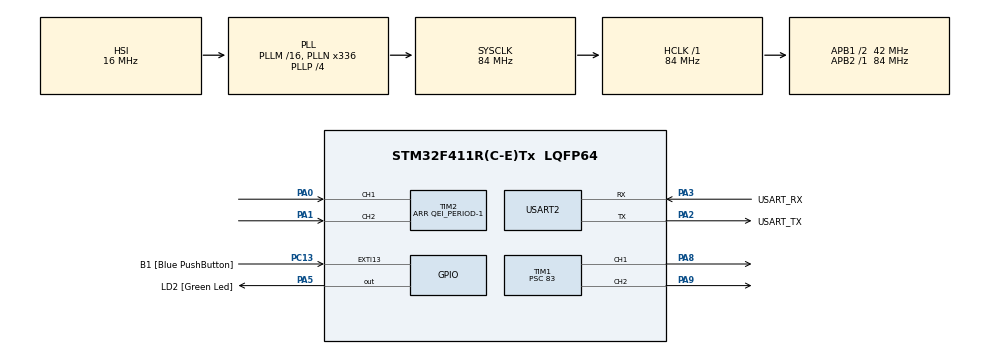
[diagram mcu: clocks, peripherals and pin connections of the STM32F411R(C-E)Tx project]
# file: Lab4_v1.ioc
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ARM.CMSIS.5.6.0.CMSISJjCORE=true
ARM.CMSIS.5.6.0.CMSISJjDSP=Library
Mcu.Family=STM32F4
Mcu.Name=STM32F411R(C-E)Tx
Mcu.Package=LQFP64
Mcu.UserConstants=QEI_PERIOD,4294967295
NVIC.PriorityGroup=NVIC_PRIORITYGROUP_0
NVIC.TIM5_IRQn=true\:0\:0\:false\:false\:true\:true\:true\:true
PA0-WKUP.Signal=S_TIM2_CH1_ETR
PA1.Signal=S_TIM2_CH2
PA13.GPIO_Label=TMS
PA13.Mode=Trace_Asynchronous_SW
PA13.Signal=SYS_JTMS-SWDIO
PA14.GPIO_Label=TCK
PA14.Mode=Trace_Asynchronous_SW
PA14.Signal=SYS_JTCK-SWCLK
PA2.GPIO_Label=USART_TX
PA2.Mode=Asynchronous
PA2.Signal=USART2_TX
PA3.GPIO_Label=USART_RX
PA3.Mode=Asynchronous
PA3.Signal=USART2_RX
PA5.GPIO_Label=LD2 [Green Led]
PA5.Signal=GPIO_Output
PA8.Signal=S_TIM1_CH1
PA9.Signal=S_TIM1_CH2
PB3.GPIO_Label=SWO
PB3.Mode=Trace_Asynchronous_SW
PB3.Signal=SYS_JTDO-SWO
PC13-ANTI_TAMP.GPIO_Label=B1 [Blue PushButton]
PC13-ANTI_TAMP.GPIO_ModeDefaultEXTI=GPIO_MODE_IT_FALLING
PC13-ANTI_TAMP.Signal=GPXTI13
PC14-OSC32_IN.Mode=LSE-External-Oscillator
PC14-OSC32_IN.Signal=RCC_OSC32_IN
PC15-OSC32_OUT.Mode=LSE-External-Oscillator
PC15-OSC32_OUT.Signal=RCC_OSC32_OUT
PH0\ -\ OSC_IN.Mode=HSE-External-Clock-Source
PH0\ -\ OSC_IN.Signal=RCC_OSC_IN
PH1\ -\ OSC_OUT.Mode=HSE-External-Clock-Source
PH1\ -\ OSC_OUT.Signal=RCC_OSC_OUT
ProjectManager.HeapSize=0x200
ProjectManager.StackSize=0x400
ProjectManager.TargetToolchain=STM32CubeIDE
RCC.48MHZClocksFreq_Value=84000000
RCC.AHBFreq_Value=84000000
RCC.APB1CLKDivider=RCC_HCLK_DIV2
RCC.APB1Freq_Value=42000000
RCC.APB1TimFreq_Value=84000000
RCC.APB2Freq_Value=84000000
RCC.APB2TimFreq_Value=84000000
RCC.CortexFreq_Value=84000000
RCC.FLatency-AdvancedSettings=FLASH_LATENCY_2
RCC.HCLKFreq_Value=84000000
RCC.HSE_VALUE=8000000
RCC.HSI_VALUE=16000000
RCC.PLLN=336
RCC.PLLP=RCC_PLLP_DIV4
RCC.SYSCLKFreq_VALUE=84000000
RCC.SYSCLKSource=RCC_SYSCLKSOURCE_PLLCLK
RCC.VCOOutputFreq_Value=336000000
SH.S_TIM1_CH1.0=TIM1_CH1,PWM Generation1 CH1
SH.S_TIM1_CH2.0=TIM1_CH2,PWM Generation2 CH2
SH.S_TIM2_CH1_ETR.0=TIM2_CH1,Encoder_Interface
SH.S_TIM2_CH2.0=TIM2_CH2,Encoder_Interface
TIM1.Channel-PWM\ Generation1\ CH1=TIM_CHANNEL_1
TIM1.Channel-PWM\ Generation2\ CH2=TIM_CHANNEL_2
TIM1.Period=999
TIM1.Prescaler=83
TIM2.EncoderMode=TIM_ENCODERMODE_TI12
TIM2.Period=QEI_PERIOD-1
TIM5.Prescaler=83
USART2.VirtualMode=VM_ASYNC
VP_ARM.CMSIS_VS_CMSISJjCORE_5.3.0_5.6.0.Mode=CMSISJjCORE
VP_ARM.CMSIS_VS_CMSISJjDSP_1.7.0_5.6.0.Mode=CMSISJjDSP
VP_TIM1_VS_ClockSourceINT.Mode=Internal
VP_TIM5_VS_ClockSourceINT.Mode=Internal
board=NUCLEO-F411RE

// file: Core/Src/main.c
/* USER CODE BEGIN Header */
/**
  ******************************************************************************
  * @file           : main.c
  * @brief          : Main program body
  ******************************************************************************
  * @attention
  *
  * Copyright (c) 2023 STMicroelectronics.
  * All rights reserved.
  *
  * This software is licensed under terms that can be found in the LICENSE file
  * in the root directory of this software component.
  * If no LICENSE file comes with this software, it is provided AS-IS.
  *
  ******************************************************************************
  */
/* USER CODE END Header */
#include "main.h"

/* USER CODE BEGIN Includes */
#include "arm_math.h"
#include "stdio.h"
/* USER CODE END Includes */

TIM_HandleTypeDef htim1;
TIM_HandleTypeDef htim2;
TIM_HandleTypeDef htim5;

UART_HandleTypeDef huart2;

/* USER CODE BEGIN PV */
uint32_t QEIReadRaw;
float degree;
arm_pid_instance_f32 PID = {0};
float position = 0;
float set = 0;
float pwm = 0 ;
uint32_t p = 10;
float i = 1;
float d = 2;
float nowdiff = 0;
uint32_t s = 0;
/* USER CODE END PV */

void SystemClock_Config(void);
static void MX_GPIO_Init(void);
static void MX_USART2_UART_Init(void);
static void MX_TIM5_Init(void);
static void MX_TIM1_Init(void);
static void MX_TIM2_Init(void);

int main(void)
{

  /* MCU Configuration--------------------------------------------------------*/

  /* Reset of all peripherals, Initializes the Flash interface and the Systick. */
  HAL_Init();

  /* Configure the system clock */
  SystemClock_Config();

  /* Initialize all configured peripherals */
  MX_GPIO_Init();
  MX_USART2_UART_Init();
  MX_TIM5_Init();
  MX_TIM1_Init();
  MX_TIM2_Init();
  /* USER CODE BEGIN 2 */
  HAL_TIM_Encoder_Start(&htim2, TIM_CHANNEL_1|TIM_CHANNEL_2);
  HAL_TIM_Base_Start(&htim1);
  HAL_TIM_PWM_Start(&htim1, TIM_CHANNEL_1);
  HAL_TIM_PWM_Start(&htim1, TIM_CHANNEL_2);
  PID.Kp = p;
  PID.Ki = i;
  PID.Kd = d;
  arm_pid_init_f32(&PID,0);

  /* USER CODE END 2 */

  /* Infinite loop */
  while (1)
  {

    /* USER CODE BEGIN 3 */

	  static uint32_t timestamp = 0;
	  if(HAL_GetTick() > timestamp)
	  {
		  QEIReadRaw = __HAL_TIM_GET_COUNTER(&htim2);
		  degree = (QEIReadRaw/3072.00)*360;

		  //QEIEncoderPositionVelocity_Update();
		  pwm = arm_pid_f32 (&PID, set-degree);
		  if (s >= 1)
		  {

			  if(pwm >= 0)
			  {
				  s = 2;
				  __HAL_TIM_SET_COMPARE(&htim1,TIM_CHANNEL_1,pwm);
				  __HAL_TIM_SET_COMPARE(&htim1,TIM_CHANNEL_2,0);
			  }
			  else
			  {
				  s = 3;
				  __HAL_TIM_SET_COMPARE(&htim1,TIM_CHANNEL_1,0);
				  __HAL_TIM_SET_COMPARE(&htim1,TIM_CHANNEL_2,pwm*-1);
			  }
		  }

		  if ((pwm*1 >20 && pwm < 20) || (pwm < 20 && pwm*-1 < 20))
		  {
			  __HAL_TIM_SET_COMPARE(&htim1,TIM_CHANNEL_1,0);
			  __HAL_TIM_SET_COMPARE(&htim1,TIM_CHANNEL_2,0);
		  }
		  nowdiff = set - degree;
		  timestamp = HAL_GetTick() + 10;
	  }

  }
  /* USER CODE END 3 */
}

void SystemClock_Config(void)
{
  RCC_OscInitTypeDef RCC_OscInitStruct = {0};
  RCC_ClkInitTypeDef RCC_ClkInitStruct = {0};

  /** Configure the main internal regulator output voltage
  */
  __HAL_RCC_PWR_CLK_ENABLE();
  __HAL_PWR_VOLTAGESCALING_CONFIG(PWR_REGULATOR_VOLTAGE_SCALE1);

  /** Initializes the RCC Oscillators according to the specified parameters
  * in the RCC_OscInitTypeDef structure.
  */
  RCC_OscInitStruct.OscillatorType = RCC_OSCILLATORTYPE_HSI;
  RCC_OscInitStruct.HSIState = RCC_HSI_ON;
  RCC_OscInitStruct.HSICalibrationValue = RCC_HSICALIBRATION_DEFAULT;
  RCC_OscInitStruct.PLL.PLLState = RCC_PLL_ON;
  RCC_OscInitStruct.PLL.PLLSource = RCC_PLLSOURCE_HSI;
  RCC_OscInitStruct.PLL.PLLM = 16;
  RCC_OscInitStruct.PLL.PLLN = 336;
  RCC_OscInitStruct.PLL.PLLP = RCC_PLLP_DIV4;
  RCC_OscInitStruct.PLL.PLLQ = 4;
  if (HAL_RCC_OscConfig(&RCC_OscInitStruct) != HAL_OK)
  {
    Error_Handler();
  }

  /** Initializes the CPU, AHB and APB buses clocks
  */
  RCC_ClkInitStruct.ClockType = RCC_CLOCKTYPE_HCLK|RCC_CLOCKTYPE_SYSCLK
                              |RCC_CLOCKTYPE_PCLK1|RCC_CLOCKTYPE_PCLK2;
  RCC_ClkInitStruct.SYSCLKSource = RCC_SYSCLKSOURCE_PLLCLK;
  RCC_ClkInitStruct.AHBCLKDivider = RCC_SYSCLK_DIV1;
  RCC_ClkInitStruct.APB1CLKDivider = RCC_HCLK_DIV2;
  RCC_ClkInitStruct.APB2CLKDivider = RCC_HCLK_DIV1;

  if (HAL_RCC_ClockConfig(&RCC_ClkInitStruct, FLASH_LATENCY_2) != HAL_OK)
  {
    Error_Handler();
  }
}

static void MX_TIM1_Init(void)
{

  TIM_ClockConfigTypeDef sClockSourceConfig = {0};
  TIM_MasterConfigTypeDef sMasterConfig = {0};
  TIM_OC_InitTypeDef sConfigOC = {0};
  TIM_BreakDeadTimeConfigTypeDef sBreakDeadTimeConfig = {0};

  htim1.Instance = TIM1;
  htim1.Init.Prescaler = 83;
  htim1.Init.CounterMode = TIM_COUNTERMODE_UP;
  htim1.Init.Period = 999;
  htim1.Init.ClockDivision = TIM_CLOCKDIVISION_DIV1;
  htim1.Init.RepetitionCounter = 0;
  htim1.Init.AutoReloadPreload = TIM_AUTORELOAD_PRELOAD_DISABLE;
  if (HAL_TIM_Base_Init(&htim1) != HAL_OK)
  {
    Error_Handler();
  }
  sClockSourceConfig.ClockSource = TIM_CLOCKSOURCE_INTERNAL;
  if (HAL_TIM_ConfigClockSource(&htim1, &sClockSourceConfig) != HAL_OK)
  {
    Error_Handler();
  }
  if (HAL_TIM_PWM_Init(&htim1) != HAL_OK)
  {
    Error_Handler();
  }
  sMasterConfig.MasterOutputTrigger = TIM_TRGO_RESET;
  sMasterConfig.MasterSlaveMode = TIM_MASTERSLAVEMODE_DISABLE;
  if (HAL_TIMEx_MasterConfigSynchronization(&htim1, &sMasterConfig) != HAL_OK)
  {
    Error_Handler();
  }
  sConfigOC.OCMode = TIM_OCMODE_PWM1;
  sConfigOC.Pulse = 0;
  sConfigOC.OCPolarity = TIM_OCPOLARITY_HIGH;
  sConfigOC.OCNPolarity = TIM_OCNPOLARITY_HIGH;
  sConfigOC.OCFastMode = TIM_OCFAST_DISABLE;
  sConfigOC.OCIdleState = TIM_OCIDLESTATE_RESET;
  sConfigOC.OCNIdleState = TIM_OCNIDLESTATE_RESET;
  if (HAL_TIM_PWM_ConfigChannel(&htim1, &sConfigOC, TIM_CHANNEL_1) != HAL_OK)
  {
    Error_Handler();
  }
  if (HAL_TIM_PWM_ConfigChannel(&htim1, &sConfigOC, TIM_CHANNEL_2) != HAL_OK)
  {
    Error_Handler();
  }
  sBreakDeadTimeConfig.OffStateRunMode = TIM_OSSR_DISABLE;
  sBreakDeadTimeConfig.OffStateIDLEMode = TIM_OSSI_DISABLE;
  sBreakDeadTimeConfig.LockLevel = TIM_LOCKLEVEL_OFF;
  sBreakDeadTimeConfig.DeadTime = 0;
  sBreakDeadTimeConfig.BreakState = TIM_BREAK_DISABLE;
  sBreakDeadTimeConfig.BreakPolarity = TIM_BREAKPOLARITY_HIGH;
  sBreakDeadTimeConfig.AutomaticOutput = TIM_AUTOMATICOUTPUT_DISABLE;
  if (HAL_TIMEx_ConfigBreakDeadTime(&htim1, &sBreakDeadTimeConfig) != HAL_OK)
  {
    Error_Handler();
  }
  HAL_TIM_MspPostInit(&htim1);

}

static void MX_TIM2_Init(void)
{

  TIM_Encoder_InitTypeDef sConfig = {0};
  TIM_MasterConfigTypeDef sMasterConfig = {0};

  htim2.Instance = TIM2;
  htim2.Init.Prescaler = 0;
  htim2.Init.CounterMode = TIM_COUNTERMODE_UP;
  htim2.Init.Period = QEI_PERIOD-1;
  htim2.Init.ClockDivision = TIM_CLOCKDIVISION_DIV1;
  htim2.Init.AutoReloadPreload = TIM_AUTORELOAD_PRELOAD_DISABLE;
  sConfig.EncoderMode = TIM_ENCODERMODE_TI12;
  sConfig.IC1Polarity = TIM_ICPOLARITY_RISING;
  sConfig.IC1Selection = TIM_ICSELECTION_DIRECTTI;
  sConfig.IC1Prescaler = TIM_ICPSC_DIV1;
  sConfig.IC1Filter = 0;
  sConfig.IC2Polarity = TIM_ICPOLARITY_RISING;
  sConfig.IC2Selection = TIM_ICSELECTION_DIRECTTI;
  sConfig.IC2Prescaler = TIM_ICPSC_DIV1;
  sConfig.IC2Filter = 0;
  if (HAL_TIM_Encoder_Init(&htim2, &sConfig) != HAL_OK)
  {
    Error_Handler();
  }
  sMasterConfig.MasterOutputTrigger = TIM_TRGO_RESET;
  sMasterConfig.MasterSlaveMode = TIM_MASTERSLAVEMODE_DISABLE;
  if (HAL_TIMEx_MasterConfigSynchronization(&htim2, &sMasterConfig) != HAL_OK)
  {
    Error_Handler();
  }

}

static void MX_TIM5_Init(void)
{

  TIM_ClockConfigTypeDef sClockSourceConfig = {0};
  TIM_MasterConfigTypeDef sMasterConfig = {0};

  htim5.Instance = TIM5;
  htim5.Init.Prescaler = 83;
  htim5.Init.CounterMode = TIM_COUNTERMODE_UP;
  htim5.Init.Period = 4294967295;
  htim5.Init.ClockDivision = TIM_CLOCKDIVISION_DIV1;
  htim5.Init.AutoReloadPreload = TIM_AUTORELOAD_PRELOAD_DISABLE;
  if (HAL_TIM_Base_Init(&htim5) != HAL_OK)
  {
    Error_Handler();
  }
  sClockSourceConfig.ClockSource = TIM_CLOCKSOURCE_INTERNAL;
  if (HAL_TIM_ConfigClockSource(&htim5, &sClockSourceConfig) != HAL_OK)
  {
    Error_Handler();
  }
  sMasterConfig.MasterOutputTrigger = TIM_TRGO_RESET;
  sMasterConfig.MasterSlaveMode = TIM_MASTERSLAVEMODE_DISABLE;
  if (HAL_TIMEx_MasterConfigSynchronization(&htim5, &sMasterConfig) != HAL_OK)
  {
    Error_Handler();
  }

}

static void MX_USART2_UART_Init(void)
{

  huart2.Instance = USART2;
  huart2.Init.BaudRate = 115200;
  huart2.Init.WordLength = UART_WORDLENGTH_8B;
  huart2.Init.StopBits = UART_STOPBITS_1;
  huart2.Init.Parity = UART_PARITY_NONE;
  huart2.Init.Mode = UART_MODE_TX_RX;
  huart2.Init.HwFlowCtl = UART_HWCONTROL_NONE;
  huart2.Init.OverSampling = UART_OVERSAMPLING_16;
  if (HAL_UART_Init(&huart2) != HAL_OK)
  {
    Error_Handler();
  }

}

static void MX_GPIO_Init(void)
{
  GPIO_InitTypeDef GPIO_InitStruct = {0};

  /* GPIO Ports Clock Enable */
  __HAL_RCC_GPIOC_CLK_ENABLE();
  __HAL_RCC_GPIOH_CLK_ENABLE();
  __HAL_RCC_GPIOA_CLK_ENABLE();
  __HAL_RCC_GPIOB_CLK_ENABLE();

  /*Configure GPIO pin Output Level */
  HAL_GPIO_WritePin(LD2_GPIO_Port, LD2_Pin, GPIO_PIN_RESET);

  /*Configure GPIO pin : B1_Pin */
  GPIO_InitStruct.Pin = B1_Pin;
  GPIO_InitStruct.Mode = GPIO_MODE_IT_FALLING;
  GPIO_InitStruct.Pull = GPIO_NOPULL;
  HAL_GPIO_Init(B1_GPIO_Port, &GPIO_InitStruct);

  /*Configure GPIO pin : LD2_Pin */
  GPIO_InitStruct.Pin = LD2_Pin;
  GPIO_InitStruct.Mode = GPIO_MODE_OUTPUT_PP;
  GPIO_InitStruct.Pull = GPIO_NOPULL;
  GPIO_InitStruct.Speed = GPIO_SPEED_FREQ_LOW;
  HAL_GPIO_Init(LD2_GPIO_Port, &GPIO_InitStruct);

}

void Error_Handler(void)
{
  __disable_irq();
  while (1)
  {
  }
}
